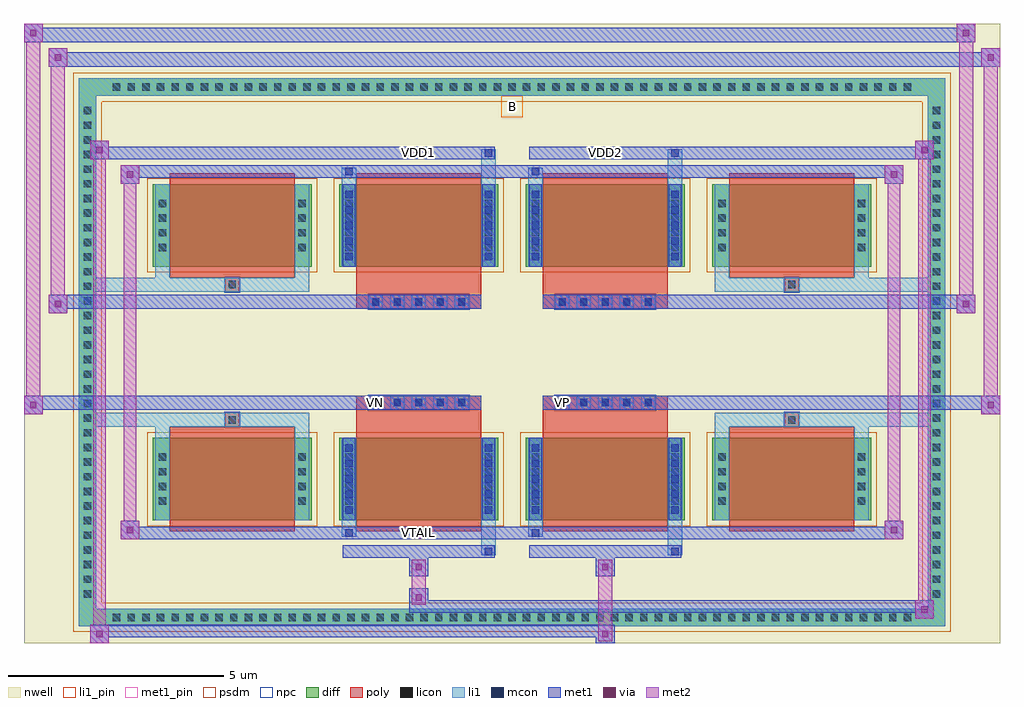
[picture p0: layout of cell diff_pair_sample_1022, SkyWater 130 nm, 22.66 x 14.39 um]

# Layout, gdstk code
import gdstk
lib = gdstk.Library(unit=1e-6, precision=5e-09)
def R(c, l, rs):  # rectangles x0, y0, x1, y1
    for r in rs: c.add(gdstk.rectangle(r[:2], r[2:], *l))
def A(c, l, x, y, w, h, nx, ny, dx, dy):  # array of equal rectangles
    R(c, l, [(x+i*dx, y+j*dy, x+i*dx+w, y+j*dy+h) for i in range(nx) for j in range(ny)])
def P(c, l, *ps):  # polygons
    for p in ps: c.add(gdstk.Polygon(p, *l))
nwell = (64, 20)
diff = (65, 20)
poly = (66, 20)
licon = (66, 44)
li1_pin = (67, 16)
li1 = (67, 20)
mcon = (67, 44)
met1_pin = (68, 16)
met1 = (68, 20)
via = (68, 44)
met2 = (69, 20)
psdm = (94, 20)
npc = (95, 20)

diff_pair_sample_1022 = lib.new_cell('diff_pair_sample_1022')
R(diff_pair_sample_1022, nwell, [(-11.33,-6.76,11.33,7.63), (-8.65,-4.95,-0.01,-0.805), (0.01,-4.95,8.65,-0.805), (-8.65,0.805,-0.01,4.95), (0.01,0.805,8.65,4.95)])
A(diff_pair_sample_1022, diff, -9.385, -6.36, 0.41, 0.41, 55, 2, 0.34, 12.31)
A(diff_pair_sample_1022, diff, -10.06, -5.815, 0.41, 0.41, 1, 34, 0, 0.34)
A(diff_pair_sample_1022, diff, 9.65, -5.815, 0.41, 0.41, 1, 34, 0, 0.34)
A(diff_pair_sample_1022, diff, -8.34, -3.905, 3.69, 1.92, 4, 2, 4.33, 5.89)
R(diff_pair_sample_1022, diff, [(-9.385,-6.36,9.385,-5.95), (-10.06,-5.815,-9.65,5.815), (9.65,-5.815,10.06,5.815), (-9.385,5.95,9.385,6.36)])
P(diff_pair_sample_1022, diff, [(10.06,6.36),(-10.06,6.36),(-10.06,-5.95),(-9.65,-5.95),(-9.65,5.95),(9.65,5.95),(9.65,-5.95),(-9.65,-5.95),(-10.06,-5.95),(-10.06,-6.36),(10.06,-6.36)])
A(diff_pair_sample_1022, poly, -7.95, -4.155, 2.91, 2.42, 4, 2, 4.33, 5.89)
A(diff_pair_sample_1022, poly, -3.33, -1.335, 0.33, 0.33, 5, 2, 0.5, 2.34)
A(diff_pair_sample_1022, poly, 1, -1.335, 0.33, 0.33, 5, 2, 0.5, 2.34)
R(diff_pair_sample_1022, poly, [(-6.66,-1.735,-6.33,-1.405), (-6.66,-1.735,-6.33,-1.405), (-3.62,-1.735,-0.71,-1.335), (0.71,-1.735,3.62,-1.335), (6.33,-1.735,6.66,-1.405), (6.33,-1.735,6.66,-1.405), (-3.62,-1.335,-0.71,-1.005), (0.71,-1.335,3.62,-1.005), (-3.62,1.005,-0.71,1.335), (0.71,1.005,3.62,1.335), (-3.62,1.335,-0.71,1.735), (0.71,1.335,3.62,1.735), (-6.66,1.405,-6.33,1.735), (-6.66,1.405,-6.33,1.735), (6.33,1.405,6.66,1.735), (6.33,1.405,6.66,1.735)])
A(diff_pair_sample_1022, licon, -9.265, -6.24, 0.17, 0.17, 55, 2, 0.34, 12.31)
A(diff_pair_sample_1022, licon, -9.94, -5.695, 0.17, 0.17, 1, 34, 0, 0.34)
A(diff_pair_sample_1022, licon, 9.77, -5.695, 0.17, 0.17, 1, 34, 0, 0.34)
A(diff_pair_sample_1022, licon, -8.2, -3.54, 0.17, 0.17, 1, 4, 0, 0.34)
A(diff_pair_sample_1022, licon, -4.96, -3.54, 0.17, 0.17, 1, 4, 0, 0.34)
A(diff_pair_sample_1022, licon, -3.87, -3.54, 0.17, 0.17, 1, 4, 0, 0.34)
A(diff_pair_sample_1022, licon, -0.63, -3.54, 0.17, 0.17, 1, 4, 0, 0.34)
A(diff_pair_sample_1022, licon, 0.46, -3.54, 0.17, 0.17, 1, 4, 0, 0.34)
A(diff_pair_sample_1022, licon, 3.7, -3.54, 0.17, 0.17, 1, 4, 0, 0.34)
A(diff_pair_sample_1022, licon, 4.79, -3.54, 0.17, 0.17, 1, 4, 0, 0.34)
A(diff_pair_sample_1022, licon, 8.03, -3.54, 0.17, 0.17, 1, 4, 0, 0.34)
A(diff_pair_sample_1022, licon, -3.25, -1.255, 0.17, 0.17, 5, 2, 0.5, 2.34)
A(diff_pair_sample_1022, licon, 1.08, -1.255, 0.17, 0.17, 5, 2, 0.5, 2.34)
A(diff_pair_sample_1022, licon, -8.2, 2.35, 0.17, 0.17, 1, 4, 0, 0.34)
A(diff_pair_sample_1022, licon, -4.96, 2.35, 0.17, 0.17, 1, 4, 0, 0.34)
A(diff_pair_sample_1022, licon, -3.87, 2.35, 0.17, 0.17, 1, 4, 0, 0.34)
A(diff_pair_sample_1022, licon, -0.63, 2.35, 0.17, 0.17, 1, 4, 0, 0.34)
A(diff_pair_sample_1022, licon, 0.46, 2.35, 0.17, 0.17, 1, 4, 0, 0.34)
A(diff_pair_sample_1022, licon, 3.7, 2.35, 0.17, 0.17, 1, 4, 0, 0.34)
A(diff_pair_sample_1022, licon, 4.79, 2.35, 0.17, 0.17, 1, 4, 0, 0.34)
A(diff_pair_sample_1022, licon, 8.03, 2.35, 0.17, 0.17, 1, 4, 0, 0.34)
R(diff_pair_sample_1022, licon, [(-6.58,-1.655,-6.41,-1.485), (6.41,-1.655,6.58,-1.485), (-6.58,1.485,-6.41,1.655), (6.41,1.485,6.58,1.655)])
R(diff_pair_sample_1022, li1_pin, [(-0.25,5.45,0.25,5.95)])
A(diff_pair_sample_1022, li1, -9.345, -6.32, 0.33, 0.33, 55, 2, 0.34, 12.31)
A(diff_pair_sample_1022, li1, -10.02, -5.775, 0.33, 0.33, 1, 34, 0, 0.34)
A(diff_pair_sample_1022, li1, 9.69, -5.775, 0.33, 0.33, 1, 34, 0, 0.34)
A(diff_pair_sample_1022, li1, -3.87, -3.75, 0.17, 0.17, 1, 5, 0, 0.36)
A(diff_pair_sample_1022, li1, -0.63, -3.75, 0.17, 0.17, 1, 5, 0, 0.36)
A(diff_pair_sample_1022, li1, 0.46, -3.75, 0.17, 0.17, 1, 5, 0, 0.36)
A(diff_pair_sample_1022, li1, 3.7, -3.75, 0.17, 0.17, 1, 5, 0, 0.36)
A(diff_pair_sample_1022, li1, -8.28, -3.62, 0.33, 0.33, 1, 4, 0, 0.34)
A(diff_pair_sample_1022, li1, -5.04, -3.62, 0.33, 0.33, 1, 4, 0, 0.34)
A(diff_pair_sample_1022, li1, -3.95, -3.62, 0.33, 0.33, 1, 4, 0, 0.34)
A(diff_pair_sample_1022, li1, -0.71, -3.62, 0.33, 0.33, 1, 4, 0, 0.34)
A(diff_pair_sample_1022, li1, 0.38, -3.62, 0.33, 0.33, 1, 4, 0, 0.34)
A(diff_pair_sample_1022, li1, 3.62, -3.62, 0.33, 0.33, 1, 4, 0, 0.34)
A(diff_pair_sample_1022, li1, 4.71, -3.62, 0.33, 0.33, 1, 4, 0, 0.34)
A(diff_pair_sample_1022, li1, 7.95, -3.62, 0.33, 0.33, 1, 4, 0, 0.34)
A(diff_pair_sample_1022, li1, -3.33, -1.335, 0.33, 0.33, 5, 2, 0.5, 2.34)
A(diff_pair_sample_1022, li1, 1, -1.335, 0.33, 0.33, 5, 2, 0.5, 2.34)
A(diff_pair_sample_1022, li1, -3.87, 2.14, 0.17, 0.17, 1, 5, 0, 0.36)
A(diff_pair_sample_1022, li1, -0.63, 2.14, 0.17, 0.17, 1, 5, 0, 0.36)
A(diff_pair_sample_1022, li1, 0.46, 2.14, 0.17, 0.17, 1, 5, 0, 0.36)
A(diff_pair_sample_1022, li1, 3.7, 2.14, 0.17, 0.17, 1, 5, 0, 0.36)
A(diff_pair_sample_1022, li1, -8.28, 2.27, 0.33, 0.33, 1, 4, 0, 0.34)
A(diff_pair_sample_1022, li1, -5.04, 2.27, 0.33, 0.33, 1, 4, 0, 0.34)
A(diff_pair_sample_1022, li1, -3.95, 2.27, 0.33, 0.33, 1, 4, 0, 0.34)
A(diff_pair_sample_1022, li1, -0.71, 2.27, 0.33, 0.33, 1, 4, 0, 0.34)
A(diff_pair_sample_1022, li1, 0.38, 2.27, 0.33, 0.33, 1, 4, 0, 0.34)
A(diff_pair_sample_1022, li1, 3.62, 2.27, 0.33, 0.33, 1, 4, 0, 0.34)
A(diff_pair_sample_1022, li1, 4.71, 2.27, 0.33, 0.33, 1, 4, 0, 0.34)
A(diff_pair_sample_1022, li1, 7.95, 2.27, 0.33, 0.33, 1, 4, 0, 0.34)
R(diff_pair_sample_1022, li1, [(-10.06,-6.36,-9.65,-5.95), (-10.06,-6.36,-9.65,-5.95), (-9.65,-6.36,9.65,-5.95), (9.65,-6.36,10.06,-5.95), (9.65,-6.36,10.06,-5.95), (-10.06,-5.95,-9.65,5.95), (9.65,-5.95,10.06,5.95), (-0.71,-4.71,-0.38,-3.905), (-0.63,-4.71,-0.46,-4.54), (3.62,-4.71,3.95,-3.905), (3.7,-4.71,3.87,-4.54), (-3.95,-4.28,-3.62,-3.905), (-3.87,-4.28,-3.7,-4.11), (0.38,-4.28,0.71,-3.905), (0.46,-4.28,0.63,-4.11), (-8.28,-3.905,-7.95,-1.985), (-5.04,-3.905,-4.71,-1.985), (-3.95,-3.905,-3.62,-1.985), (-0.71,-3.905,-0.38,-1.985), (0.38,-3.905,0.71,-1.985), (3.62,-3.905,3.95,-1.985), (4.71,-3.905,5.04,-1.985), (7.95,-3.905,8.28,-1.985), (-3.87,-3.75,-3.7,-2.14), (-0.63,-3.75,-0.46,-2.14), (0.46,-3.75,0.63,-2.14), (3.7,-3.75,3.87,-2.14), (-8.28,-1.985,-7.95,-1.405), (-5.04,-1.985,-4.71,-1.405), (4.71,-1.985,5.04,-1.405), (7.95,-1.985,8.28,-1.405), (-10.06,-1.735,-6.66,-1.405), (-8.28,-1.735,-6.66,-1.405), (-6.66,-1.735,-6.33,-1.405), (-6.33,-1.735,-4.71,-1.405), (4.71,-1.735,6.33,-1.405), (6.33,-1.735,6.66,-1.405), (6.33,-1.735,10.06,-1.405), (6.66,-1.735,8.28,-1.405), (-10.06,1.405,-6.66,1.735), (-8.28,1.405,-6.66,1.735), (-8.28,1.405,-7.95,1.985), (-6.66,1.405,-6.33,1.735), (-6.33,1.405,-4.71,1.735), (-5.04,1.405,-4.71,1.985), (4.71,1.405,6.33,1.735), (4.71,1.405,5.04,1.985), (6.33,1.405,6.66,1.735), (6.33,1.405,10.06,1.735), (6.66,1.405,8.28,1.735), (7.95,1.405,8.28,1.985), (-8.28,1.985,-7.95,3.905), (-5.04,1.985,-4.71,3.905), (-3.95,1.985,-3.62,3.905), (-0.71,1.985,-0.38,3.905), (0.38,1.985,0.71,3.905), (3.62,1.985,3.95,3.905), (4.71,1.985,5.04,3.905), (7.95,1.985,8.28,3.905), (-3.87,2.14,-3.7,3.75), (-0.63,2.14,-0.46,3.75), (0.46,2.14,0.63,3.75), (3.7,2.14,3.87,3.75), (-3.95,3.905,-3.62,4.28), (-0.71,3.905,-0.38,4.71), (0.38,3.905,0.71,4.28), (3.62,3.905,3.95,4.71), (-3.87,4.11,-3.7,4.28), (0.46,4.11,0.63,4.28), (-0.63,4.54,-0.46,4.71), (3.7,4.54,3.87,4.71), (-10.06,5.95,-9.65,6.36), (-10.06,5.95,-9.65,6.36), (-9.65,5.95,9.65,6.36), (9.65,5.95,10.06,6.36), (9.65,5.95,10.06,6.36)])
A(diff_pair_sample_1022, mcon, -3.87, -3.75, 0.17, 0.17, 1, 5, 0, 0.36)
A(diff_pair_sample_1022, mcon, -0.63, -3.75, 0.17, 0.17, 1, 5, 0, 0.36)
A(diff_pair_sample_1022, mcon, 0.46, -3.75, 0.17, 0.17, 1, 5, 0, 0.36)
A(diff_pair_sample_1022, mcon, 3.7, -3.75, 0.17, 0.17, 1, 5, 0, 0.36)
A(diff_pair_sample_1022, mcon, -3.25, -1.255, 0.17, 0.17, 5, 2, 0.5, 2.34)
A(diff_pair_sample_1022, mcon, 1.08, -1.255, 0.17, 0.17, 5, 2, 0.5, 2.34)
A(diff_pair_sample_1022, mcon, -3.87, 2.14, 0.17, 0.17, 1, 5, 0, 0.36)
A(diff_pair_sample_1022, mcon, -0.63, 2.14, 0.17, 0.17, 1, 5, 0, 0.36)
A(diff_pair_sample_1022, mcon, 0.46, 2.14, 0.17, 0.17, 1, 5, 0, 0.36)
A(diff_pair_sample_1022, mcon, 3.7, 2.14, 0.17, 0.17, 1, 5, 0, 0.36)
R(diff_pair_sample_1022, mcon, [(-0.63,-4.71,-0.46,-4.54), (3.7,-4.71,3.87,-4.54), (-3.87,-4.28,-3.7,-4.11), (0.46,-4.28,0.63,-4.11), (-3.87,4.11,-3.7,4.28), (0.46,4.11,0.63,4.28), (-0.63,4.54,-0.46,4.71), (3.7,4.54,3.87,4.71)])
R(diff_pair_sample_1022, met1_pin, [(-2.3,-4.32,-2.03,-4.05), (-3.3,-1.295,-3.03,-1.025), (1.03,-1.295,1.3,-1.025), (-2.3,4.5,-2.03,4.77), (2.03,4.5,2.3,4.77)])
A(diff_pair_sample_1022, met1, -3.93, -3.81, 0.29, 0.29, 1, 5, 0, 0.36)
A(diff_pair_sample_1022, met1, -0.69, -3.81, 0.29, 0.29, 1, 5, 0, 0.36)
A(diff_pair_sample_1022, met1, 0.4, -3.81, 0.29, 0.29, 1, 5, 0, 0.36)
A(diff_pair_sample_1022, met1, 3.64, -3.81, 0.29, 0.29, 1, 5, 0, 0.36)
A(diff_pair_sample_1022, met1, -3.31, -1.315, 0.29, 0.29, 5, 2, 0.5, 2.34)
A(diff_pair_sample_1022, met1, 1.02, -1.315, 0.29, 0.29, 5, 2, 0.5, 2.34)
A(diff_pair_sample_1022, met1, -3.93, 2.08, 0.29, 0.29, 1, 5, 0, 0.36)
A(diff_pair_sample_1022, met1, -0.69, 2.08, 0.29, 0.29, 1, 5, 0, 0.36)
A(diff_pair_sample_1022, met1, 0.4, 2.08, 0.29, 0.29, 1, 5, 0, 0.36)
A(diff_pair_sample_1022, met1, 3.64, 2.08, 0.29, 0.29, 1, 5, 0, 0.36)
R(diff_pair_sample_1022, met1, [(-9.79,-6.76,-9.36,-6.33), (1.95,-6.76,2.38,-6.33), (-9.79,-6.62,2.38,-6.33), (9.36,-6.19,9.79,-5.76), (-2.38,-6.05,9.79,-5.76), (-2.38,-5.91,-1.95,-5.48), (-2.38,-5.2,-1.95,-4.77), (1.95,-5.2,2.38,-4.77), (-3.93,-4.77,-0.4,-4.48), (-0.69,-4.77,-0.4,-4.48), (0.4,-4.77,3.93,-4.48), (3.64,-4.77,3.93,-4.48), (-9.08,-4.34,-8.65,-3.91), (-9.08,-4.34,-3.93,-4.05), (-3.93,-4.34,-3.64,-4.05), (-3.93,-4.34,-0.4,-4.05), (-0.4,-4.34,0.4,-4.05), (0.4,-4.34,0.69,-4.05), (0.4,-4.34,3.93,-4.05), (3.93,-4.34,9.08,-4.05), (8.65,-4.34,9.08,-3.91), (-3.93,-3.905,-3.64,-1.985), (-0.69,-3.905,-0.4,-1.985), (0.4,-3.905,0.69,-1.985), (3.64,-3.905,3.93,-1.985), (-11.33,-1.435,-10.9,-1.005), (10.9,-1.435,11.33,-1.005), (-11.33,-1.335,-0.71,-1.005), (-3.62,-1.335,-0.71,-1.005), (0.71,-1.335,3.62,-1.005), (0.71,-1.335,11.33,-1.005), (-10.76,0.905,-10.33,1.335), (10.33,0.905,10.76,1.335), (-10.76,1.005,-3.62,1.335), (-3.62,1.005,-0.71,1.335), (0.71,1.005,3.62,1.335), (3.62,1.005,10.76,1.335), (-3.93,1.985,-3.64,3.905), (-0.69,1.985,-0.4,3.905), (0.4,1.985,0.69,3.905), (3.64,1.985,3.93,3.905), (-9.08,3.91,-8.65,4.34), (8.65,3.91,9.08,4.34), (-9.08,4.05,-3.93,4.34), (-3.93,4.05,-3.64,4.34), (-3.93,4.05,-0.4,4.34), (-0.4,4.05,0.4,4.34), (0.4,4.05,0.69,4.34), (0.4,4.05,3.93,4.34), (3.93,4.05,9.08,4.34), (-9.79,4.48,-9.36,4.91), (-9.79,4.48,-3.93,4.77), (-3.93,4.48,-0.4,4.77), (-0.69,4.48,-0.4,4.77), (0.4,4.48,3.93,4.77), (3.64,4.48,3.93,4.77), (3.93,4.48,9.79,4.77), (9.36,4.48,9.79,4.91), (-10.76,6.63,-10.33,7.06), (-10.76,6.63,-8.65,6.96), (-8.65,6.63,8.65,6.96), (8.65,6.63,11.33,6.96), (10.9,6.63,11.33,7.06), (-11.33,7.2,-10.9,7.63), (-11.33,7.2,-8.65,7.53), (-8.65,7.2,8.65,7.53), (8.65,7.2,10.76,7.53), (10.33,7.2,10.76,7.63)])
R(diff_pair_sample_1022, via, [(-9.65,-6.62,-9.5,-6.47), (2.09,-6.62,2.24,-6.47), (9.5,-6.05,9.65,-5.9), (-2.24,-5.77,-2.09,-5.62), (-2.24,-5.06,-2.09,-4.91), (2.09,-5.06,2.24,-4.91), (-8.94,-4.2,-8.79,-4.05), (8.79,-4.2,8.94,-4.05), (-11.19,-1.295,-11.04,-1.145), (11.04,-1.295,11.19,-1.145), (-10.62,1.045,-10.47,1.195), (10.47,1.045,10.62,1.195), (-8.94,4.05,-8.79,4.2), (8.79,4.05,8.94,4.2), (-9.65,4.62,-9.5,4.77), (9.5,4.62,9.65,4.77), (-10.62,6.77,-10.47,6.92), (11.04,6.77,11.19,6.92), (-11.19,7.34,-11.04,7.49), (10.47,7.34,10.62,7.49)])
R(diff_pair_sample_1022, met2, [(-9.79,-6.76,-9.36,-6.33), (-9.72,-6.76,-9.43,4.91), (-9.43,-6.76,-9.36,-6.33), (-9.74,-6.71,-9.41,-6.38), (2,-6.71,2.33,-6.38), (2,-6.38,2.33,-5.15), (9.36,-6.19,9.79,-5.76), (9.43,-6.19,9.72,4.91), (9.72,-6.19,9.79,-5.76), (9.41,-6.14,9.74,-5.81), (-2.33,-5.86,-2,-5.53), (-2.33,-5.53,-2,-5.15), (-2.33,-5.15,-2,-4.82), (2,-5.15,2.33,-4.82), (-9.08,-4.34,-8.65,-3.91), (-9.01,-4.34,-8.72,4.34), (-8.72,-4.34,-8.65,-3.91), (8.65,-4.34,9.08,-3.91), (8.72,-4.34,9.01,4.34), (9.01,-4.34,9.08,-3.91), (-9.03,-4.29,-8.7,-3.96), (8.7,-4.29,9.03,-3.96), (-11.33,-1.435,-10.9,-1.005), (-11.28,-1.435,-10.95,7.63), (-10.95,-1.435,-10.9,-1.005), (10.9,-1.435,11.33,-1.005), (10.95,-1.435,11.28,7.06), (11.28,-1.435,11.33,-1.005), (-11.28,-1.385,-10.95,-1.055), (10.95,-1.385,11.28,-1.055), (-10.76,0.905,-10.33,1.335), (-10.71,0.905,-10.38,7.06), (-10.38,0.905,-10.33,1.335), (10.33,0.905,10.76,1.335), (10.38,0.905,10.71,7.63), (10.71,0.905,10.76,1.335), (-10.71,0.955,-10.38,1.285), (10.38,0.955,10.71,1.285), (-9.08,3.91,-8.65,4.34), (-8.72,3.91,-8.65,4.34), (8.65,3.91,9.08,4.34), (9.01,3.91,9.08,4.34), (-9.03,3.96,-8.7,4.29), (8.7,3.96,9.03,4.29), (-9.79,4.48,-9.36,4.91), (-9.43,4.48,-9.36,4.91), (9.36,4.48,9.79,4.91), (9.72,4.48,9.79,4.91), (-9.74,4.53,-9.41,4.86), (9.41,4.53,9.74,4.86), (-10.76,6.63,-10.33,7.06), (-10.38,6.63,-10.33,7.06), (10.9,6.63,11.33,7.06), (11.28,6.63,11.33,7.06), (-10.71,6.68,-10.38,7.01), (10.95,6.68,11.28,7.01), (-11.33,7.2,-10.9,7.63), (-10.95,7.2,-10.9,7.63), (10.33,7.2,10.76,7.63), (10.71,7.2,10.76,7.63), (-11.28,7.25,-10.95,7.58), (10.38,7.25,10.71,7.58)])
A(diff_pair_sample_1022, psdm, -8.47, -4.035, 3.95, 2.18, 4, 2, 4.33, 5.89)
P(diff_pair_sample_1022, psdm, [(10.19,6.49),(-10.19,6.49),(-10.19,-5.82),(-9.52,-5.82),(-9.52,5.82),(9.52,5.82),(9.52,-5.82),(-9.52,-5.82),(-10.19,-5.82),(-10.19,-6.49),(10.19,-6.49)])
A(diff_pair_sample_1022, npc, -3.35, -1.355, 0.37, 0.37, 5, 2, 0.5, 2.34)
A(diff_pair_sample_1022, npc, 0.98, -1.355, 0.37, 0.37, 5, 2, 0.5, 2.34)
R(diff_pair_sample_1022, npc, [(-6.68,-1.755,-6.31,-1.385), (6.31,-1.755,6.68,-1.385), (-3.35,-1.355,-2.48,-0.985), (-3.35,-1.355,-2.48,-0.985), (-2.85,-1.355,-1.98,-0.985), (-2.85,-1.355,-1.98,-0.985), (-2.35,-1.355,-1.48,-0.985), (-2.35,-1.355,-1.48,-0.985), (-1.85,-1.355,-0.98,-0.985), (-1.85,-1.355,-0.98,-0.985), (0.98,-1.355,1.85,-0.985), (0.98,-1.355,1.85,-0.985), (1.48,-1.355,2.35,-0.985), (1.48,-1.355,2.35,-0.985), (1.98,-1.355,2.85,-0.985), (1.98,-1.355,2.85,-0.985), (2.48,-1.355,3.35,-0.985), (2.48,-1.355,3.35,-0.985), (-3.35,0.985,-2.48,1.355), (-3.35,0.985,-2.48,1.355), (-2.85,0.985,-1.98,1.355), (-2.85,0.985,-1.98,1.355), (-2.35,0.985,-1.48,1.355), (-2.35,0.985,-1.48,1.355), (-1.85,0.985,-0.98,1.355), (-1.85,0.985,-0.98,1.355), (0.98,0.985,1.85,1.355), (0.98,0.985,1.85,1.355), (1.48,0.985,2.35,1.355), (1.48,0.985,2.35,1.355), (1.98,0.985,2.85,1.355), (1.98,0.985,2.85,1.355), (2.48,0.985,3.35,1.355), (2.48,0.985,3.35,1.355), (-6.68,1.385,-6.31,1.755), (6.31,1.385,6.68,1.755)])
diff_pair_sample_1022.add(gdstk.Label('VTAIL', (-2.165,-4.185), layer=68, texttype=5))
diff_pair_sample_1022.add(gdstk.Label('VN', (-3.165,-1.16), layer=68, texttype=5))
diff_pair_sample_1022.add(gdstk.Label('VP', (1.165,-1.16), layer=68, texttype=5))
diff_pair_sample_1022.add(gdstk.Label('B', (0,5.7), layer=67, texttype=5))
diff_pair_sample_1022.add(gdstk.Label('VDD2', (2.165,4.635), layer=68, texttype=5))
diff_pair_sample_1022.add(gdstk.Label('VDD1', (-2.165,4.635), layer=68, texttype=5))

lib.write_gds('diff_pair_sample_1022.gds')
